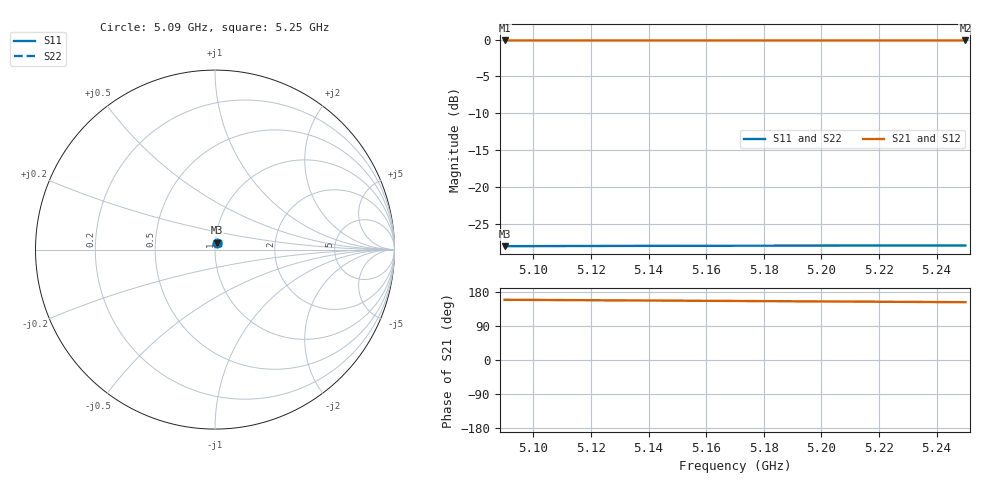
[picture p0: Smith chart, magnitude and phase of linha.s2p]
! Touchstone file exported from HFSS 2024.2.0
!  File:  D:/dev/EMBRAER/P1H/R03_Estudo/ZYF300CA-C/cupom_20/Linha_ZYF300CA_C_20.aedt
!  Generated:  10:02:34 PM Nov  6, 2026
!  Design:  Linha
!  Project:  Linha_ZYF300CA_C_20
!  Setup:  Perda
!  Solution:  Banda
# GHz S RI R 50.000000
! Terminal data exported
! Port[1] = E
! Port[2] = S
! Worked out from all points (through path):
!   17 points, 5.09 GHz to 5.25 GHz, reference 50 ohm
!   highest |S21| = -0.11 dB at 5.09 GHz (marker M1); lowest = -0.1 dB at 5.25 GHz (marker M2)
!   group delay of S21, straight-line fit = 110 ps
!   lowest |S11| = -28.0 dB at 5.09 GHz (marker M3), VSWR 1.08, Z = 51 + j3.89 ohm
!   |S11| at or under -10 dB: start of sweep to end of sweep
!   |S22| runs from -28.0 to -27.9 dB; largest |S21 - S12| = 1e-15
5.09  0.0109 0.0382  -0.9211 0.3549  -0.9211 0.3549  0.0104 0.0383
! Gamma 0 0 0 0
! Port Impedance 50 0 50 0
5.1  0.0112 0.0381  -0.9186 0.3613  -0.9186 0.3613  0.0107 0.0383
5.11  0.0115 0.0381  -0.916 0.3677  -0.916 0.3677  0.0109 0.0382
5.12  0.0117 0.038  -0.9134 0.374  -0.9134 0.374  0.0112 0.0382
5.13  0.012 0.038  -0.9108 0.3803  -0.9108 0.3803  0.0115 0.0381
5.14  0.0123 0.0379  -0.9081 0.3866  -0.9081 0.3866  0.0118 0.0381
5.15  0.0125 0.0379  -0.9054 0.3929  -0.9054 0.3929  0.012 0.038
5.16  0.0128 0.0378  -0.9026 0.3991  -0.9026 0.3991  0.0123 0.038
5.17  0.0131 0.0378  -0.8998 0.4054  -0.8998 0.4054  0.0126 0.0379
5.18  0.0133 0.0377  -0.8969 0.4116  -0.8969 0.4116  0.0128 0.0379
5.19  0.0136 0.0376  -0.894 0.4178  -0.894 0.4178  0.0131 0.0378
5.2  0.0139 0.0376  -0.8911 0.424  -0.8911 0.424  0.0134 0.0377
5.21  0.0141 0.0375  -0.8881 0.4301  -0.8881 0.4301  0.0136 0.0377
5.22  0.0144 0.0374  -0.8851 0.4363  -0.8851 0.4363  0.0139 0.0376
5.23  0.0146 0.0373  -0.882 0.4424  -0.882 0.4424  0.0142 0.0375
5.24  0.0149 0.0373  -0.8789 0.4485  -0.8789 0.4485  0.0144 0.0374
5.25  0.0152 0.0372  -0.8757 0.4545  -0.8757 0.4545  0.0147 0.0374
